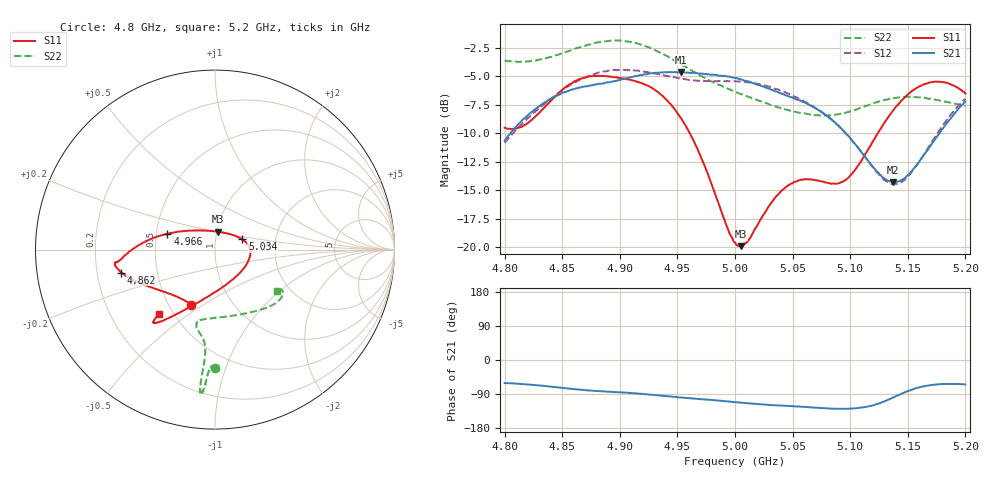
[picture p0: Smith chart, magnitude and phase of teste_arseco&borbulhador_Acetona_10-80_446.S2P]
! Network Analyzer HP8722D
! Hewlett-Packard
! Data name: Linha & Wilkinson
! Saver's name: Rodrigo Anjos
! Comments: Teste da utilização de aquisição
! continua pelo VNA HP8722D
! Time and date: 17/4/2025 18:04
!  Frequency  S11  S21  S12  S22
# HZ  S  MA R 50
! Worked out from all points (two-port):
!   401 points, 4.8 GHz to 5.2 GHz, reference 50 ohm
!   highest |S21| = -4.63 dB at 4.953 GHz (marker M1); lowest = -14.3 dB at 5.137 GHz (marker M2)
!   |S21| within 3 dB of the highest: 4.83 GHz to 5.067 GHz (236.3 MHz wide, 4.78 % of centre); 5.196112 GHz to end of sweep
!   lowest |S11| = -19.9 dB at 5.005 GHz (marker M3), VSWR 1.22, Z = 50.5 + j10.2 ohm
!   |S11| at or under -10 dB: 4.961 GHz to 5.124 GHz (163.3 MHz wide, 3.24 % of centre)
!   |S22| runs from -8.5 to -1.9 dB; largest |S21 - S12| = 0.88
!   S11 on the Smith chart (normalised r, x): 4.8 GHz: 0.64, -0.44; 4.862 GHz: 0.31, -0.11; 4.966 GHz: 0.57, +0.11; 5.034 GHz: 1.35, +0.16; 5.2 GHz: 0.42, -0.39
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4.8e9  0.3338 -113.6  0.2927 -60.9  0.2866 -175.0  0.6578 -90.2
4.819e9  0.3472 -133.7  0.3742 -64.2  0.3627 -173.7  0.6528 -91.7
4.862e9  0.5371 -166.2  0.4975 -77.2  0.5308 -177.0  0.7448 -94.0
4.867e9  0.5492 -168.3  0.504 -78.8  0.547 -178.0  0.7579 -94.2
4.899e9  0.5524 -172.8  0.5402 -85.2  0.599 175.4  0.8065 -95.7
4.934e9  0.475 -178.8  0.5821 -93.5  0.5739 171.6  0.7178 -96.0
4.953e9  0.3683 171.3  0.5866 -98.7  0.5476 172.4  0.6352 -95.5
4.966e9  0.2794 161.5  0.5802 -102.1  0.538 173.7  0.5798 -95.3
5e9  0.1044 98.8  0.5522 -111.4  0.5344 176.1  0.4807 -99.5
5.005e9  0.1008 81.5  0.545 -112.5  0.5324 176.0  0.4685 -100.7
5.012e9  0.1075 59.9  0.5323 -114.5  0.5277 175.9  0.4561 -102.2
5.034e9  0.1627 20.6  0.4846 -119.4  0.4965 174.8  0.4161 -103.7
5.05e9  0.1908 4.4  0.4521 -121.9  0.4609 173.9  0.3951 -99.6
5.067e9  0.1977 -14.0  0.4136 -125.2  0.4158 173.5  0.38 -90.6
5.086e9  0.1897 -44.1  0.3554 -128.5  0.355 173.7  0.3802 -76.1
5.097e9  0.1982 -66.9  0.3119 -128.8  0.3125 174.6  0.3905 -67.1
5.134e9  0.3772 -116.9  0.1944 -103.7  0.1907 -156.4  0.4471 -43.0
5.137e9  0.3952 -118.7  0.1921 -99.5  0.1892 -151.7  0.4505 -41.7
5.15e9  0.4671 -124.6  0.2061 -82.1  0.2036 -131.6  0.456 -36.8
5.17e9  0.5286 -129.3  0.2796 -66.1  0.2848 -112.4  0.4473 -32.1
5.184e9  0.525 -130.6  0.3508 -63.1  0.3625 -107.3  0.4333 -31.1
5.2e9  0.4722 -131.0  0.435 -64.5  0.4471 -106.6  0.4167 -33.5
